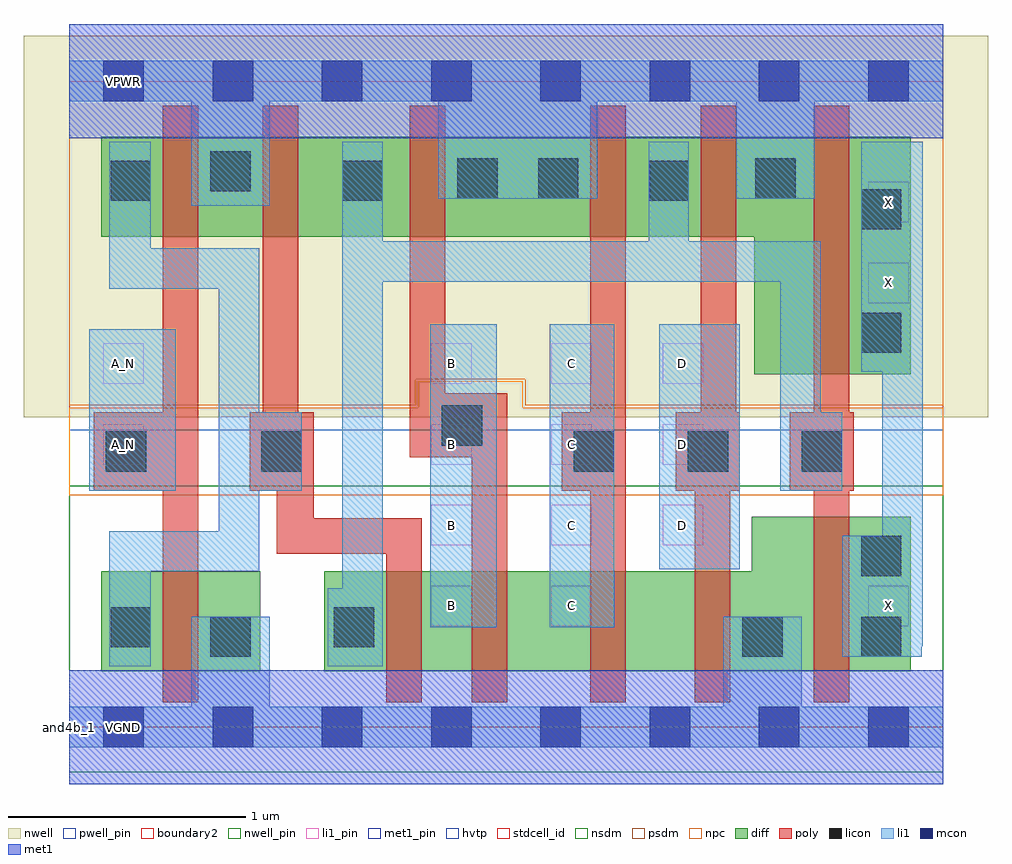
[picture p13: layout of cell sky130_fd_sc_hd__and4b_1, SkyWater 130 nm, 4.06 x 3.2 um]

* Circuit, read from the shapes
.subckt sky130_fd_sc_hd__and4b_1 A_N B C D VGND VNB VPB VPWR X
XM1 VGND A_N n1 VNB sky130_fd_pr__nfet_01v8 w=0.42 l=0.15
XM2 n2 n1 n3 VNB sky130_fd_pr__nfet_01v8 w=0.42 l=0.15
XM3 n4 B n2 VNB sky130_fd_pr__nfet_01v8 w=0.42 l=0.15
XM4 n5 C n4 VNB sky130_fd_pr__nfet_01v8 w=0.42 l=0.15
XM5 VGND D n5 VNB sky130_fd_pr__nfet_01v8 w=0.42 l=0.15
XM6 X n3 VGND VNB sky130_fd_pr__nfet_01v8 w=0.65 l=0.15
XM7 VPWR A_N n1 VPB sky130_fd_pr__pfet_01v8_hvt w=0.42 l=0.15
XM8 n3 n1 VPWR VPB sky130_fd_pr__pfet_01v8_hvt w=0.42 l=0.15
XM9 VPWR B n3 VPB sky130_fd_pr__pfet_01v8_hvt w=0.42 l=0.15
XM10 n3 C VPWR VPB sky130_fd_pr__pfet_01v8_hvt w=0.42 l=0.15
XM11 VPWR D n3 VPB sky130_fd_pr__pfet_01v8_hvt w=0.42 l=0.15
XM12 X n3 VPWR VPB sky130_fd_pr__pfet_01v8_hvt w=1 l=0.15
.ends

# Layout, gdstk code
import gdstk
lib = gdstk.Library(unit=1e-6, precision=1e-09)
def R(c, l, rs):  # rectangles x0, y0, x1, y1
    for r in rs: c.add(gdstk.rectangle(r[:2], r[2:], *l))
def A(c, l, x, y, w, h, nx, ny, dx, dy):  # array of equal rectangles
    R(c, l, [(x+i*dx, y+j*dy, x+i*dx+w, y+j*dy+h) for i in range(nx) for j in range(ny)])
def P(c, l, *ps):  # polygons
    for p in ps: c.add(gdstk.Polygon(p, *l))
nwell_pin = (64, 16)
nwell = (64, 20)
diff = (65, 20)
poly = (66, 20)
licon = (66, 44)
li1_pin = (67, 16)
li1 = (67, 20)
mcon = (67, 44)
met1_pin = (68, 16)
met1 = (68, 20)
hvtp = (78, 44)
stdcell_id = (81, 4)
nsdm = (93, 44)
psdm = (94, 20)
npc = (95, 20)
pwell_pin = (122, 16)
boundary2 = (236, 0)

sky130_fd_sc_hd__and4b_1 = lib.new_cell('sky130_fd_sc_hd__and4b_1')
R(sky130_fd_sc_hd__and4b_1, nwell_pin, [(0.145,2.635,0.315,2.805)])
R(sky130_fd_sc_hd__and4b_1, nwell, [(-0.19,1.305,3.87,2.91)])
R(sky130_fd_sc_hd__and4b_1, diff, [(0.135,0.235,0.805,0.655)])
P(sky130_fd_sc_hd__and4b_1, diff, [(3.545,2.485),(0.135,2.485),(0.135,2.065),(2.885,2.065),(2.885,1.485),(3.545,1.485)],
  [(3.545,0.885),(2.875,0.885),(2.875,0.655),(1.075,0.655),(1.075,0.235),(3.545,0.235)])
R(sky130_fd_sc_hd__and4b_1, poly, [(2.66,1.315,2.81,2.615), (3.135,1.325,3.285,2.615)])
P(sky130_fd_sc_hd__and4b_1, poly, [(0.545,2.615),(0.395,2.615),(0.395,1.325),(0.105,1.325),(0.105,0.995),(0.395,0.995),(0.395,0.105),(0.545,0.105)],
  [(2.345,2.615),(2.195,2.615),(2.195,1.325),(2.075,1.325),(2.075,0.995),(2.195,0.995),(2.195,0.105),(2.345,0.105)],
  [(1.845,1.405),(1.585,1.405),(1.585,2.615),(1.435,2.615),(1.435,1.135),(1.695,1.135),(1.695,0.105),(1.845,0.105)],
  [(1.485,0.88),(1.03,0.88),(1.03,1.325),(0.965,1.325),(0.965,2.615),(0.815,2.615),(0.815,1.325),(0.76,1.325),(0.76,0.995),(0.875,0.995),(0.875,0.73),(1.335,0.73),(1.335,0.105),(1.485,0.105)],
  [(2.825,1.325),(2.555,1.325),(2.555,0.995),(2.635,0.995),(2.635,0.105),(2.785,0.105),(2.785,0.995),(2.825,0.995)],
  [(3.305,1.325),(3.035,1.325),(3.035,0.995),(3.135,0.995),(3.135,0.105),(3.285,0.105),(3.285,0.995),(3.305,0.995)])
A(sky130_fd_sc_hd__and4b_1, licon, 2.125, 1.075, 0.17, 0.17, 3, 1, 0.48, 0)
R(sky130_fd_sc_hd__and4b_1, licon, [(0.595,0.295,0.765,0.465), (2.835,0.295,3.005,0.465), (3.335,0.295,3.505,0.465), (0.175,0.335,0.345,0.505), (1.115,0.335,1.285,0.505), (3.335,0.635,3.505,0.805), (0.155,1.075,0.325,1.245), (0.81,1.075,0.98,1.245), (1.57,1.185,1.74,1.355), (3.335,1.575,3.505,1.745), (3.335,2.095,3.505,2.265), (0.175,2.215,0.345,2.385), (1.15,2.215,1.32,2.385), (2.44,2.215,2.61,2.385), (1.635,2.225,1.805,2.395), (1.975,2.225,2.145,2.395), (2.89,2.225,3.06,2.395), (0.595,2.255,0.765,2.425)])
A(sky130_fd_sc_hd__and4b_1, li1_pin, 1.525, 0.425, 0.17, 0.17, 1, 4, 0, 0.34)
A(sky130_fd_sc_hd__and4b_1, li1_pin, 2.03, 0.425, 0.17, 0.17, 1, 4, 0, 0.34)
A(sky130_fd_sc_hd__and4b_1, li1_pin, 2.5, 0.765, 0.17, 0.17, 1, 3, 0, 0.34)
R(sky130_fd_sc_hd__and4b_1, li1_pin, [(3.365,0.425,3.535,0.595), (0.145,1.105,0.315,1.275), (0.145,1.445,0.315,1.615), (3.365,1.785,3.535,1.955), (3.365,2.125,3.535,2.295)])
R(sky130_fd_sc_hd__and4b_1, li1, [(1.52,0.42,1.8,1.695), (2.025,0.42,2.295,1.695), (2.485,0.665,2.825,1.695), (0.085,0.995,0.45,1.675)])
P(sky130_fd_sc_hd__and4b_1, li1, [(0.98,1.325),(0.8,1.325),(0.8,2.015),(0.345,2.015),(0.345,2.465),(0.17,2.465),(0.17,1.845),(0.63,1.845),(0.63,0.825),(0.17,0.825),(0.17,0.255),(0.345,0.255),(0.345,0.655),(0.8,0.655),(0.8,0.995),(0.98,0.995)],
  [(3.255,1.325),(3.165,1.325),(3.165,2.045),(2.61,2.045),(2.61,2.465),(2.44,2.465),(2.44,2.045),(1.32,2.045),(1.32,2.465),(1.15,2.465),(1.15,0.585),(1.09,0.585),(1.09,0.255),(1.32,0.255),(1.32,1.875),(2.995,1.875),(2.995,0.995),(3.255,0.995)],
  [(3.595,2.465),(3.335,2.465),(3.335,1.495),(3.425,1.495),(3.425,0.805),(3.255,0.805),(3.255,0.295),(3.59,0.295),(3.59,0.34),(3.595,0.34)],
  [(3.68,2.805),(0,2.805),(0,2.635),(0.515,2.635),(0.515,2.195),(0.845,2.195),(0.845,2.635),(1.555,2.635),(1.555,2.225),(2.225,2.225),(2.225,2.635),(2.81,2.635),(2.81,2.225),(3.14,2.225),(3.14,2.635),(3.68,2.635)],
  [(3.68,0.085),(3.085,0.085),(3.085,0.465),(2.755,0.465),(2.755,0.085),(0.845,0.085),(0.845,0.465),(0.515,0.465),(0.515,0.085),(0,0.085),(0,-0.085),(3.68,-0.085)])
A(sky130_fd_sc_hd__and4b_1, mcon, 0.145, -0.085, 0.17, 0.17, 8, 2, 0.46, 2.72)
R(sky130_fd_sc_hd__and4b_1, met1_pin, [(0.145,-0.085,0.315,0.085), (0.145,2.635,0.315,2.805)])
R(sky130_fd_sc_hd__and4b_1, hvtp, [(0,1.25,3.68,2.72)])
R(sky130_fd_sc_hd__and4b_1, stdcell_id, [(0,0,3.68,2.72)])
R(sky130_fd_sc_hd__and4b_1, nsdm, [(0,-0.19,3.68,1.015)])
P(sky130_fd_sc_hd__and4b_1, psdm, [(3.68,2.91),(0,2.91),(0,1.355),(1.46,1.355),(1.46,1.465),(1.92,1.465),(1.92,1.355),(3.68,1.355)])
P(sky130_fd_sc_hd__and4b_1, npc, [(3.68,1.345),(1.91,1.345),(1.91,1.455),(1.47,1.455),(1.47,1.345),(0,1.345),(0,0.975),(3.68,0.975)])
R(sky130_fd_sc_hd__and4b_1, pwell_pin, [(0.145,-0.085,0.315,0.085)])
R(sky130_fd_sc_hd__and4b_1, boundary2, [(0,0,3.68,2.72)])
sky130_fd_sc_hd__and4b_1.add(gdstk.FlexPath([(0,2.72),(3.68,2.72)], 0.48, ends="flush", simple_path=True, layer=68, datatype=20))  # met1
sky130_fd_sc_hd__and4b_1.add(gdstk.FlexPath([(0,0),(3.68,0)], 0.48, ends="flush", simple_path=True, layer=68, datatype=20))  # met1
sky130_fd_sc_hd__and4b_1.add(gdstk.Label('VGND', (0.23,0), layer=68, texttype=5))
sky130_fd_sc_hd__and4b_1.add(gdstk.Label('VPWR', (0.23,2.72), layer=68, texttype=5))
sky130_fd_sc_hd__and4b_1.add(gdstk.Label('C', (2.115,1.53), layer=67, texttype=5))
sky130_fd_sc_hd__and4b_1.add(gdstk.Label('A_N', (0.23,1.53), layer=67, texttype=5))
sky130_fd_sc_hd__and4b_1.add(gdstk.Label('X', (3.45,0.51), layer=67, texttype=5))
sky130_fd_sc_hd__and4b_1.add(gdstk.Label('X', (3.45,1.87), layer=67, texttype=5))
sky130_fd_sc_hd__and4b_1.add(gdstk.Label('X', (3.45,2.21), layer=67, texttype=5))
sky130_fd_sc_hd__and4b_1.add(gdstk.Label('A_N', (0.23,1.19), layer=67, texttype=5))
sky130_fd_sc_hd__and4b_1.add(gdstk.Label('D', (2.585,1.19), layer=67, texttype=5))
sky130_fd_sc_hd__and4b_1.add(gdstk.Label('D', (2.585,1.53), layer=67, texttype=5))
sky130_fd_sc_hd__and4b_1.add(gdstk.Label('C', (2.115,0.51), layer=67, texttype=5))
sky130_fd_sc_hd__and4b_1.add(gdstk.Label('C', (2.115,0.85), layer=67, texttype=5))
sky130_fd_sc_hd__and4b_1.add(gdstk.Label('B', (1.61,0.51), layer=67, texttype=5))
sky130_fd_sc_hd__and4b_1.add(gdstk.Label('B', (1.61,0.85), layer=67, texttype=5))
sky130_fd_sc_hd__and4b_1.add(gdstk.Label('B', (1.61,1.19), layer=67, texttype=5))
sky130_fd_sc_hd__and4b_1.add(gdstk.Label('B', (1.61,1.53), layer=67, texttype=5))
sky130_fd_sc_hd__and4b_1.add(gdstk.Label('D', (2.585,0.85), layer=67, texttype=5))
sky130_fd_sc_hd__and4b_1.add(gdstk.Label('C', (2.115,1.19), layer=67, texttype=5))
sky130_fd_sc_hd__and4b_1.add(gdstk.Label('VPB', (0.23,2.72), layer=64, texttype=5))
sky130_fd_sc_hd__and4b_1.add(gdstk.Label('VNB', (0.23,0), layer=64, texttype=59))
sky130_fd_sc_hd__and4b_1.add(gdstk.Label('and4b_1', (0,0), layer=83, texttype=44))

lib.write_gds('sky130_fd_sc_hd__and4b_1.gds')
